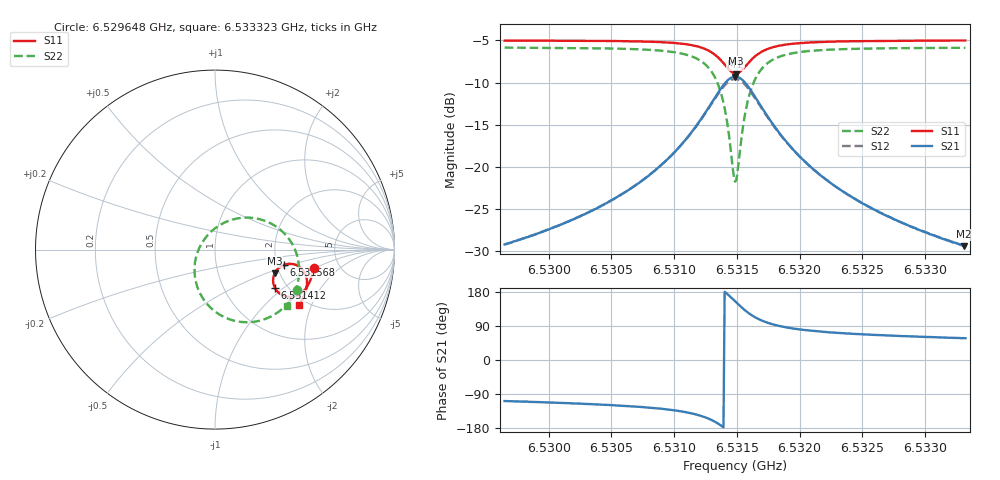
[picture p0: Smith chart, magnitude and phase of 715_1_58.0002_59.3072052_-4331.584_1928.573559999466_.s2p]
#  HZ  S  RI  R  50.00
! Rohde & Schwarz Vector Network Analyzer
! Rohde-Schwarz,ZNB20-2Port,1311601062101988,3.16
! Created: UTC 3/21/2024, 1:22:20 AM
! freq[Hz]  re:S11  im:S11  re:S21  im:S21  re:S12  im:S12  re:S22  im:S22
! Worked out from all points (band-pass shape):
!   401 points, 6.529648 GHz to 6.533323 GHz, reference 50 ohm
!   highest |S21| = -9.29 dB at 6.531485 GHz (marker M1); lowest = -29.4 dB at 6.533314 GHz (marker M2)
!   |S21| within 3 dB of the highest: 6.531303 GHz to 6.531671 GHz (367.3 kHz wide, 0.00562 % of centre)
!   lowest |S11| = -8.9 dB at 6.531494 GHz (marker M3), VSWR 2.11, Z = 94.1 - j28.6 ohm
!   |S11| at or under -10 dB: nowhere
!   |S22| runs from -21.8 to -5.9 dB; largest |S21 - S12| = 0.015
!   S11 on the Smith chart (normalised r, x): 6.529648 GHz: 3.23, -0.97; 6.531412 GHz: 1.72, -0.88; 6.531568 GHz: 2.20, -0.44; 6.533323 GHz: 1.82, -1.64
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6.5296477e9  0.5506 -0.1033  -0.0109 -0.0329  -0.0117 -0.0327  0.4577 -0.2226
6.5302633e9  0.537 -0.1553  -0.0222 -0.0466  -0.0233 -0.046  0.4211 -0.2807
6.53064e9  0.5216 -0.1919  -0.0386 -0.0622  -0.0404 -0.0613  0.3781 -0.3269
6.5308788e9  0.504 -0.2193  -0.0615 -0.0786  -0.0638 -0.0766  0.3274 -0.3642
6.5310993e9  0.4715 -0.2489  -0.1098 -0.0985  -0.1127 -0.0942  0.231 -0.4
6.5312555e9  0.4205 -0.2643  -0.189 -0.0994  -0.1907 -0.0911  0.0878 -0.3905
6.5313474e9  0.37 -0.2516  -0.2664 -0.0606  -0.2636 -0.0492  -0.038 -0.3097
6.5313842e9  0.3482 -0.2339  -0.2984 -0.0241  -0.2921 -0.0124  -0.0844 -0.2417
6.5314117e9  0.3343 -0.2141  -0.3172 0.014  -0.308 0.0246  -0.1076 -0.175
6.5314669e9  0.3245 -0.1606  -0.3227 0.1104  -0.3093 0.1155  -0.0977 -0.0161
6.5314852e9  0.3287 -0.1415  -0.3117 0.1434  -0.2981 0.1461  -0.0736 0.0356
6.5314944e9  0.3322 -0.1324  -0.3038 0.1592  -0.2904 0.1606  -0.0577 0.0595
6.5315128e9  0.3422 -0.1157  -0.2835 0.1873  -0.2709 0.1865  -0.02 0.1017
6.5315679e9  0.3857 -0.0841  -0.2036 0.2394  -0.1955 0.2348  0.1203 0.1728
6.5316322e9  0.4363 -0.081  -0.1154 0.2433  -0.1114 0.2391  0.268 0.1637
6.5317241e9  0.481 -0.1051  -0.0394 0.2065  -0.0377 0.2042  0.3904 0.0853
6.5318619e9  0.5065 -0.145  0.00487 0.1509  0.00611 0.1499  0.4551 -0.0253
6.5321008e9  0.5125 -0.1923  0.0221 0.0954  0.0233 0.0952  0.4681 -0.1376
6.5323764e9  0.506 -0.2282  0.0236 0.0649  0.0247 0.0647  0.4551 -0.2061
6.5327164e9  0.4941 -0.2613  0.0217 0.0456  0.0226 0.0452  0.4346 -0.2569
6.5333135e9  0.4698 -0.3077  0.0182 0.0286  0.0188 0.0284  0.3998 -0.3137
6.5333227e9  0.4692 -0.3082  0.0182 0.0286  0.0188 0.0282  0.3993 -0.3144
